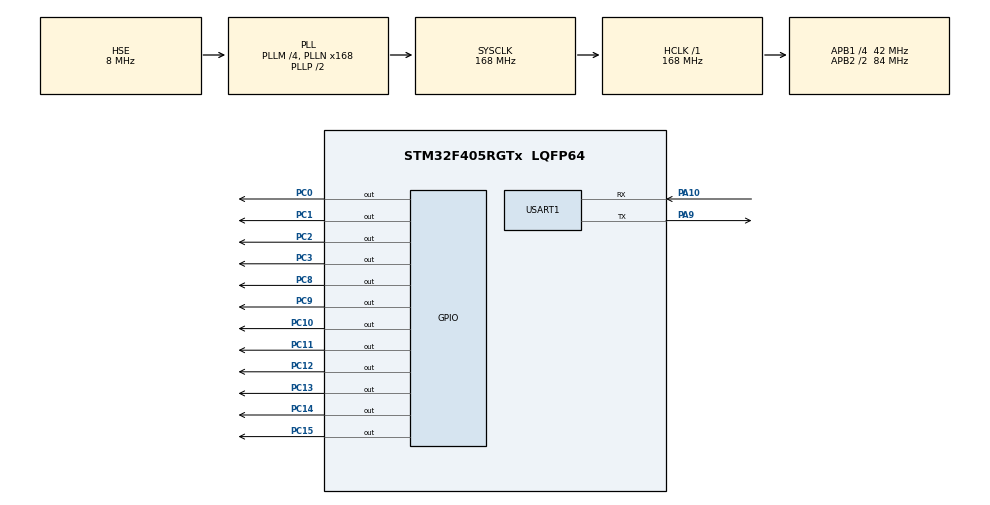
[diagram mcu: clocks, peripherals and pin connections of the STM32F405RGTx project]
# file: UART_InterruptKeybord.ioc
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Mcu.Family=STM32F4
Mcu.Name=STM32F405RGTx
Mcu.Package=LQFP64
NVIC.PriorityGroup=NVIC_PRIORITYGROUP_4
NVIC.USART1_IRQn=true\:0\:0\:false\:false\:true\:true\:true
PA10.Mode=Asynchronous
PA10.Signal=USART1_RX
PA13.Mode=Serial_Wire
PA13.Signal=SYS_JTMS-SWDIO
PA14.Mode=Serial_Wire
PA14.Signal=SYS_JTCK-SWCLK
PA9.Mode=Asynchronous
PA9.Signal=USART1_TX
PC0.Signal=GPIO_Output
PC1.Signal=GPIO_Output
PC10.Signal=GPIO_Output
PC11.Signal=GPIO_Output
PC12.Signal=GPIO_Output
PC13-ANTI_TAMP.Signal=GPIO_Output
PC14-OSC32_IN.Signal=GPIO_Output
PC15-OSC32_OUT.Signal=GPIO_Output
PC2.Signal=GPIO_Output
PC3.Signal=GPIO_Output
PC8.Signal=GPIO_Output
PC9.Signal=GPIO_Output
PH0-OSC_IN.Mode=HSE-External-Oscillator
PH0-OSC_IN.Signal=RCC_OSC_IN
PH1-OSC_OUT.Mode=HSE-External-Oscillator
PH1-OSC_OUT.Signal=RCC_OSC_OUT
ProjectManager.HeapSize=0x200
ProjectManager.StackSize=0x400
ProjectManager.TargetToolchain=EWARM V8.32
RCC.48MHZClocksFreq_Value=84000000
RCC.AHBFreq_Value=168000000
RCC.APB1CLKDivider=RCC_HCLK_DIV4
RCC.APB1Freq_Value=42000000
RCC.APB1TimFreq_Value=84000000
RCC.APB2CLKDivider=RCC_HCLK_DIV2
RCC.APB2Freq_Value=84000000
RCC.APB2TimFreq_Value=168000000
RCC.CortexFreq_Value=168000000
RCC.HCLKFreq_Value=168000000
RCC.HSE_VALUE=8000000
RCC.HSI_VALUE=16000000
RCC.LSE_VALUE=32768
RCC.PLLM=4
RCC.PLLN=168
RCC.PLLSourceVirtual=RCC_PLLSOURCE_HSE
RCC.SYSCLKFreq_VALUE=168000000
RCC.SYSCLKSource=RCC_SYSCLKSOURCE_PLLCLK
RCC.VCOOutputFreq_Value=336000000
USART1.VirtualMode=VM_ASYNC
board=custom

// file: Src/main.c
/* USER CODE BEGIN Header */
/**
  ******************************************************************************
  * @file           : main.c
  * @brief          : Main program body
  ******************************************************************************
  * @attention
  *
  * <h2><center>&copy; Copyright (c) 2020 STMicroelectronics.
  * All rights reserved.</center></h2>
  *
  * This software component is licensed by ST under BSD 3-Clause license,
  * the "License"; You may not use this file except in compliance with the
  * License. You may obtain a copy of the License at:
  *                        opensource.org/licenses/BSD-3-Clause
  *
  ******************************************************************************
  */
/* USER CODE END Header */

#include "main.h"
#include "usart.h"
#include "gpio.h"

/* USER CODE BEGIN PV */
uint8_t rxData;
unsigned char LED_Data = 0x0000;
unsigned char LED_Flag = 0;
unsigned char FND_Flag = 0;
unsigned int FND_DATA_TBL[] = {0x3F00, 0x0600, 0x5B00, 0x4F00,
                                  0x6600, 0x6D00, 0x7C00, 0x0700,
                                  0x7F00, 0x6700, 0x7700, 0x7C00,
                                  0x3900, 0x5E00, 0x7900, 0x7100};
unsigned char Interrupt_Flag = 0;
/* USER CODE END PV */

void SystemClock_Config(void);

int main(void)
{

  /* MCU Configuration--------------------------------------------------------*/

  /* Reset of all peripherals, Initializes the Flash interface and the Systick. */
  HAL_Init();

  /* Configure the system clock */
  SystemClock_Config();

  /* Initialize all configured peripherals */
  MX_GPIO_Init();
  MX_USART1_UART_Init();
  /* USER CODE BEGIN 2 */
  HAL_UART_Receive_IT(&huart1, &rxData, 1);
  /* USER CODE END 2 */

  /* Infinite loop */
  /* USER CODE BEGIN WHILE */
  unsigned char cnt = 0;
  while (1)
  {
    /* USER CODE END WHILE */
    if(LED_Flag == 1)
    {
      HAL_GPIO_WritePin(GPIOC, GPIO_PIN_0|GPIO_PIN_1|GPIO_PIN_2|GPIO_PIN_3, GPIO_PIN_SET);
      LED_Flag = 0;
    }

    if(FND_Flag == 1)
    {
      HAL_GPIO_WritePin(GPIOC, FND_DATA_TBL[cnt], GPIO_PIN_SET);
      HAL_Delay(200);
      HAL_GPIO_WritePin(GPIOC, FND_DATA_TBL[cnt], GPIO_PIN_RESET);

      cnt++;
      if(cnt > 15)
      {
        FND_Flag = 0;
        cnt = 0;
      }

    }

    if(Interrupt_Flag == 1)
    {
      HAL_GPIO_WritePin(GPIOC, GPIO_PIN_0|GPIO_PIN_1|GPIO_PIN_2|GPIO_PIN_3, GPIO_PIN_RESET);
      HAL_GPIO_WritePin(GPIOC, FND_DATA_TBL[cnt], GPIO_PIN_RESET);
      Interrupt_Flag = 0;
    }

  }
}

void SystemClock_Config(void)
{
  RCC_OscInitTypeDef RCC_OscInitStruct = {0};
  RCC_ClkInitTypeDef RCC_ClkInitStruct = {0};

  /** Configure the main internal regulator output voltage
  */
  __HAL_RCC_PWR_CLK_ENABLE();
  __HAL_PWR_VOLTAGESCALING_CONFIG(PWR_REGULATOR_VOLTAGE_SCALE1);
  /** Initializes the CPU, AHB and APB busses clocks
  */
  RCC_OscInitStruct.OscillatorType = RCC_OSCILLATORTYPE_HSE;
  RCC_OscInitStruct.HSEState = RCC_HSE_ON;
  RCC_OscInitStruct.PLL.PLLState = RCC_PLL_ON;
  RCC_OscInitStruct.PLL.PLLSource = RCC_PLLSOURCE_HSE;
  RCC_OscInitStruct.PLL.PLLM = 4;
  RCC_OscInitStruct.PLL.PLLN = 168;
  RCC_OscInitStruct.PLL.PLLP = RCC_PLLP_DIV2;
  RCC_OscInitStruct.PLL.PLLQ = 4;
  if (HAL_RCC_OscConfig(&RCC_OscInitStruct) != HAL_OK)
  {
    Error_Handler();
  }
  /** Initializes the CPU, AHB and APB busses clocks
  */
  RCC_ClkInitStruct.ClockType = RCC_CLOCKTYPE_HCLK|RCC_CLOCKTYPE_SYSCLK
                              |RCC_CLOCKTYPE_PCLK1|RCC_CLOCKTYPE_PCLK2;
  RCC_ClkInitStruct.SYSCLKSource = RCC_SYSCLKSOURCE_PLLCLK;
  RCC_ClkInitStruct.AHBCLKDivider = RCC_SYSCLK_DIV1;
  RCC_ClkInitStruct.APB1CLKDivider = RCC_HCLK_DIV4;
  RCC_ClkInitStruct.APB2CLKDivider = RCC_HCLK_DIV2;

  if (HAL_RCC_ClockConfig(&RCC_ClkInitStruct, FLASH_LATENCY_5) != HAL_OK)
  {
    Error_Handler();
  }
}

/* USER CODE BEGIN 4 */
void HAL_UART_RxCpltCallback(UART_HandleTypeDef *huart)
{
  if(huart->Instance == USART1)
  {
    HAL_UART_Receive_IT(&huart1, &rxData, 1);
    if(rxData == '1')
      LED_Flag = 1;
    else if(rxData == '2')
      FND_Flag = 1;
    else if(rxData == '3')
      Interrupt_Flag = 1;
  }
}

/* USER CODE END 4 */

void Error_Handler(void)
{
}

/************************ (C) COPYRIGHT STMicroelectronics *****END OF FILE****/
